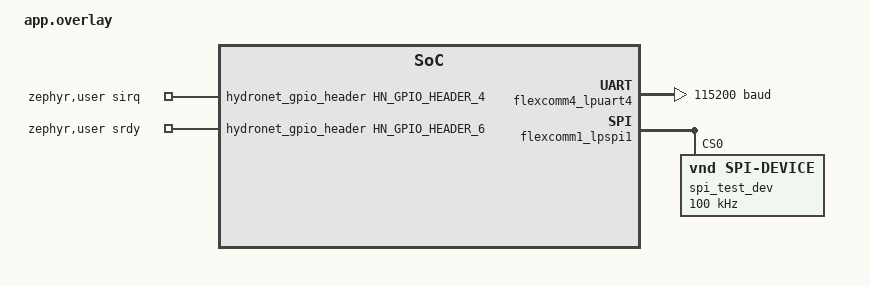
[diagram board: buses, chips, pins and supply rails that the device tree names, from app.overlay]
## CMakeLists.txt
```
cmake_minimum_required(VERSION 3.20.0)
find_package(Zephyr REQUIRED HINTS $ENV{ZEPHYR_BASE})
project(hn_gpio_test)

target_sources(app PRIVATE src/main.c)
```

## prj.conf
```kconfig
CONFIG_GPIO=y
CONFIG_SPI=y
CONFIG_PRINTK=y
CONFIG_UART_CONSOLE=y
CONFIG_CONSOLE=y
```

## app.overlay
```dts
#include <zephyr/dt-bindings/gpio/frdm_mcxn947_hn_gpio_header.h>

&flexcomm4_lpuart4 {
	status = "okay";
	current-speed = <115200>;
};

/* FC1 LPSPI pinmux is defined in the frdm_mcxn947_hn board pinctrl:
 * P0=PT0_24, P1=PT0_25, P2=PT0_22, P3=PT0_23. */
&flexcomm1_lpspi1 {
	status = "okay";
	spi_test_dev: spi-test-dev@0 {
		compatible = "vnd,spi-device";
		reg = <0>;
		spi-max-frequency = <100000>;
	};
};

/ {
	zephyr,user {
		sirq-gpios = <&hydronet_gpio_header HN_GPIO_HEADER_4 GPIO_ACTIVE_HIGH>;
		srdy-gpios = <&hydronet_gpio_header HN_GPIO_HEADER_6 GPIO_ACTIVE_HIGH>;
	};
};
```

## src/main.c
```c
#include <zephyr/kernel.h>
#include <zephyr/drivers/gpio.h>
#include <zephyr/drivers/spi.h>
#include <zephyr/sys/printk.h>

/* Set to 1 to skip SPI bursts. The LPSPI peripheral still claims
 * the SCK/MOSI/MISO/CS pads (so they sit at their idle states per
 * CPOL/CPHA), but no transactions occur. Useful for measuring DC
 * voltages on the SPI lines with a multimeter while the firmware
 * is running. */
#define DISABLE_SPI_BURST 0

#define ZEPHYR_USER_NODE DT_PATH(zephyr_user)

static const struct gpio_dt_spec sirq =
	GPIO_DT_SPEC_GET(ZEPHYR_USER_NODE, sirq_gpios);
static const struct gpio_dt_spec srdy =
	GPIO_DT_SPEC_GET(ZEPHYR_USER_NODE, srdy_gpios);

/* SPI mode 3 (CPOL=1, CPHA=1) to match the spi2c slave config. */
#define SPI_OP (SPI_OP_MODE_MASTER | SPI_TRANSFER_MSB | SPI_WORD_SET(8) | \
		SPI_MODE_CPOL | SPI_MODE_CPHA | SPI_LINES_SINGLE)

static const struct spi_dt_spec spi_test =
	SPI_DT_SPEC_GET(DT_NODELABEL(spi_test_dev), SPI_OP, 0);

static uint8_t tx_buf[] = { 0xA5, 0x5A, 0xDE, 0xAD, 0xBE, 0xEF, 0xCA, 0xFE };

static int __maybe_unused spi_clock_burst(uint32_t iter)
{
	struct spi_buf tx = { .buf = tx_buf, .len = sizeof(tx_buf) };
	struct spi_buf_set tx_set = { .buffers = &tx, .count = 1 };
	int ret = spi_write_dt(&spi_test, &tx_set);
	if (ret != 0) {
		printk("iter %u: spi_write failed: %d\n", iter, ret);
	} else {
		printk("iter %u: spi clocked %u bytes\n",
		       iter, (unsigned)sizeof(tx_buf));
	}
	return ret;
}

int main(void)
{
	int ret;

	if (!gpio_is_ready_dt(&sirq)) {
		printk("SIRQ GPIO controller not ready\n");
		return -1;
	}
	if (!gpio_is_ready_dt(&srdy)) {
		printk("SRDY GPIO controller not ready\n");
		return -1;
	}
	if (!spi_is_ready_dt(&spi_test)) {
		printk("SPI bus not ready\n");
		return -1;
	}

	ret = gpio_pin_configure_dt(&sirq, GPIO_OUTPUT_INACTIVE);
	if (ret < 0) {
		printk("Failed to configure SIRQ as output: %d\n", ret);
		return ret;
	}
	ret = gpio_pin_configure_dt(&srdy, GPIO_OUTPUT_INACTIVE);
	if (ret < 0) {
		printk("Failed to configure SRDY as output: %d\n", ret);
		return ret;
	}

	printk("== sirq/srdy + spi master cross-test ==\n");
#if DISABLE_SPI_BURST
	printk("SPI BURSTS DISABLED — LPSPI idle for DC measurements\n");
#else
	printk("spi freq: %u Hz, burst: %u bytes\n",
	       spi_test.config.frequency, (unsigned)sizeof(tx_buf));
#endif

	bool sirq_state = false;
	bool srdy_state = false;
	bool toggle_sirq_next = true;
	uint32_t iter = 0;

	while (1) {
		/* Toggle one GPIO so SIRQ and SRDY each alternate at 1 Hz
		 * (each one flips once per 1000 ms cycle). */
		if (toggle_sirq_next) {
			sirq_state = !sirq_state;
			gpio_pin_set_dt(&sirq, sirq_state);
			printk("iter %u: SIRQ -> %s\n",
			       iter, sirq_state ? "HIGH" : "LOW");
		} else {
			srdy_state = !srdy_state;
			gpio_pin_set_dt(&srdy, srdy_state);
			printk("iter %u: SRDY -> %s\n",
			       iter, srdy_state ? "HIGH" : "LOW");
		}
		toggle_sirq_next = !toggle_sirq_next;

#if DISABLE_SPI_BURST
		/* No SPI burst — leave LPSPI idle so SCK/CS sit at their
		 * CPOL idle states and the user can DMM the lines. */
		k_msleep(500);
#else
		/* 100 ms gap so the scope can clearly see the GPIO edge,
		 * then the SPI burst that follows. */
		k_msleep(100);
		spi_clock_burst(iter);

		/* Remaining 400 ms to round out the 500 ms phase. */
		k_msleep(400);
#endif
		iter++;
	}
	return 0;
}
```
